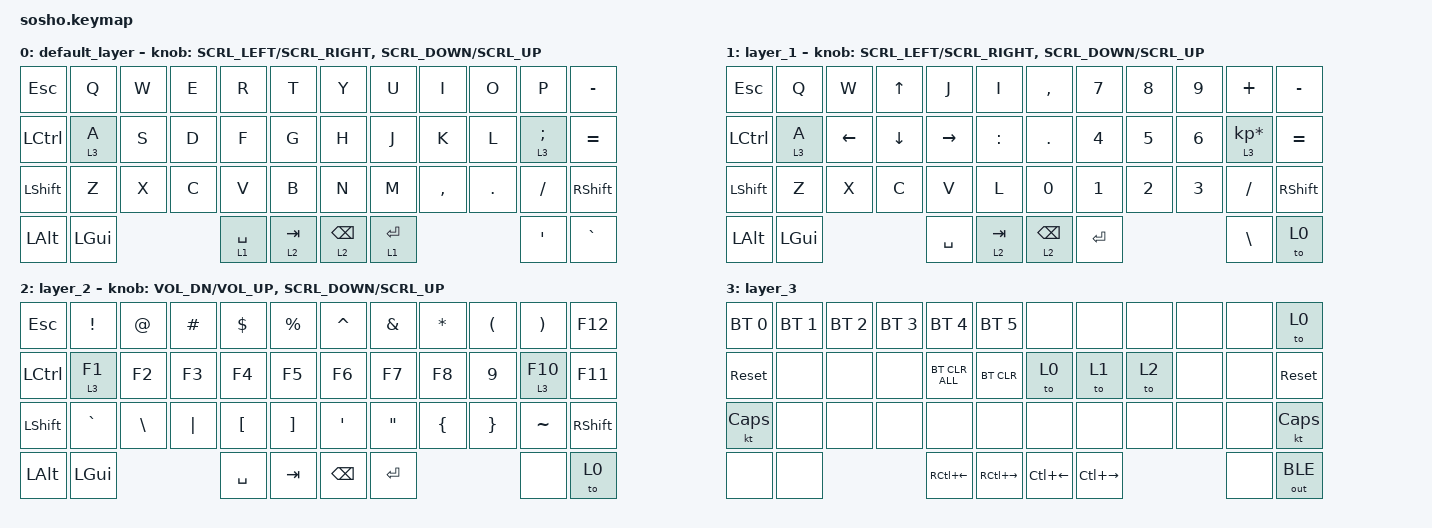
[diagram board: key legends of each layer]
//スクロール量の調整(デフォルト150)
#define ZMK_POINTING_DEFAULT_SCRL_VAL 150

#include <behaviors.dtsi>
#include <dt-bindings/zmk/bt.h>
#include <dt-bindings/zmk/keys.h>
#include <dt-bindings/zmk/pointing.h>
#include <dt-bindings/zmk/outputs.h>

/{
  behaviors {
    ec_ms_l: ec_ms_h {
      compatible = "zmk,behavior-encoder-mouse-scroll";
      #sensor-binding-cells = <2>;
    };
    ec_ms_r: ec_ms_v {
      compatible = "zmk,behavior-encoder-mouse-scroll";
      #sensor-binding-cells = <2>;
    };
  };
};

//スクロールの調整
&msc {
  // time-to-max-speed-ms = <0>;   // 即座に最大速度（加速なし）Default
  time-to-max-speed-ms = <500>;   // 500ms 低速度
  // acceleration-exponent = <0>;   // 加速なし Default
  acceleration-exponent = <2>;   // 直線加速 linier acceleration
};

/{
  combos {
    compatible = "zmk,combos";
	//左クリックのコンボ 19はJのキー 20はKのキーに相当します。
	  combo_LCLK {
      // timeout-ms = <50>; // Default
      timeout-ms = <150>;
      key-positions = <19 20>;
      bindings = <&mkp LCLK>;
    };

	  //右クリックのコンボ 20 K 21 L
    combo_RCLK {
      // timeout-ms = <50>; // Default
      timeout-ms = <150>;
      key-positions = <20 21>;
      bindings = <&mkp RCLK>;
    };

	  //ホイールクリックのコンボ 19 J 21 L
	  combo_MCLK {
      // timeout-ms = <90>; // Default
      timeout-ms = <200>;
      key-positions = <19 21>;
      bindings = <&mkp MCLK>;
    };
  };
};

/{
  keymap {
    compatible = "zmk,keymap";
    default_layer {
      bindings = <
        &kp ESC    &kp Q    &kp W  &kp E  &kp R       &kp T      &kp Y      &kp U       &kp I      &kp O    &kp P       &kp MINUS
        &kp LCTRL  &lt 3 A  &kp S  &kp D  &kp F       &kp G      &kp H      &kp J       &kp K      &kp L    &lt 3 SEMI  &kp EQUAL
        &kp LSHFT  &kp Z    &kp X  &kp C  &kp V       &kp B      &kp N      &kp M       &kp COMMA  &kp DOT  &kp SLASH   &kp RSHFT
        &kp LALT   &kp LGUI               &lt 1 SPACE &lt 2 TAB  &lt 2 BSPC &lt 1 ENTER                     &kp APOS    &kp GRAVE
      >;
      sensor-bindings = <&ec_ms_l SCRL_LEFT SCRL_RIGHT &ec_ms_r SCRL_DOWN SCRL_UP>;
    };
    layer_1 {
      bindings = <
        &kp ESC   &kp Q    &kp W    &kp UP   &kp J     &kp I     &kp COMMA    &kp N7    &kp N8 &kp N9 &kp PLUS          &kp MINUS
        &kp LCTRL &lt 3 A  &kp LEFT &kp DOWN &kp RIGHT &kp COLON &kp DOT      &kp N4    &kp N5 &kp N6 &lt 3 KP_MULTIPLY &kp EQUAL
        &kp LSHFT &kp Z    &kp X    &kp C    &kp V     &kp L     &kp N0       &kp N1    &kp N2 &kp N3 &kp SLASH         &kp RSHFT
        &kp LALT  &kp LGUI                   &kp SPACE &lt 2 TAB &lt 2 BSPC   &kp ENTER               &kp BSLH          &to 0
      >;
      sensor-bindings = <&ec_ms_l SCRL_LEFT SCRL_RIGHT &ec_ms_r SCRL_DOWN SCRL_UP>;
    };
    layer_2 {
      bindings = <
        &kp ESC   &kp EXCL  &kp AT   &kp HASH &kp DLLR  &kp PRCNT &kp CARET &kp AMPS  &kp STAR  &kp LPAR &kp RPAR  &kp F12
        &kp LCTRL &lt 3 F1  &kp F2   &kp F3   &kp F4    &kp F5    &kp F6    &kp F7    &kp F8    &kp N9   &lt 3 F10 &kp F11
        &kp LSHFT &kp GRAVE &kp BSLH &kp PIPE &kp LBKT  &kp RBKT  &kp SQT   &kp DQT   &kp LBRC  &kp RBRC &kp TILDE &kp RSHFT
        &kp LALT  &kp LGUI                    &kp SPACE &kp TAB   &kp BSPC  &kp ENTER                    &none     &to 0
      >;
      sensor-bindings = <&inc_dec_kp C_VOL_DN C_VOL_UP &ec_ms_r SCRL_DOWN SCRL_UP>;
    };
    layer_3 {
      bindings = <
        &bt BT_SEL 0 &bt BT_SEL 1 &bt BT_SEL 2 &bt BT_SEL 3 &bt BT_SEL 4   &bt BT_SEL 5  &none        &none         &none  &none &none &to 0
        &sys_reset   &none        &none        &none        &bt BT_CLR_ALL &bt BT_CLR    &to 0        &to 1         &to 2  &none &none &sys_reset
        &kt CAPSLOCK &none        &none        &none        &none          &none         &none        &none         &none  &none &none &kt CAPSLOCK 
        &none        &none                                  &kp RC(LEFT)   &kp RC(RIGHT) &kp LC(LEFT) &kp LC(RIGHT)              &none &out OUT_BLE
      >;
    };
    scroll {
        status = "reserved";
    };
    extra2 {
        status = "reserved";
    };
  };
};

